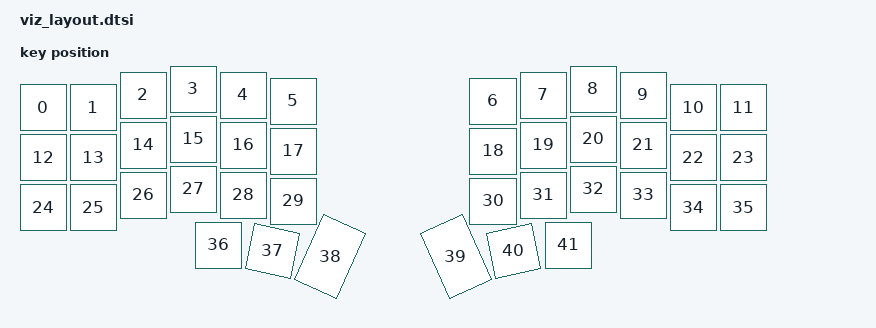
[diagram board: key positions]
/*
 * 42-key visualization layout for keymap-drawer.
 * Excludes encoder positions 6, 7, 20, 21 from the 46-key matrix
 * (those columns are where the nice_view display shield sits).
 */

#include <physical_layouts.dtsi>

/ {
    viz_layout: viz_layout {
        compatible = "zmk,physical-layout";
        display-name = "42-Key Visualization";
        keys  //                     w   h    x    y     rot    rx    ry
            /* Row 0 left: pos 0-5 */
            = <&key_physical_attrs 100 100    0   37       0     0     0>
            , <&key_physical_attrs 100 100  100   37       0     0     0>
            , <&key_physical_attrs 100 100  200   12       0     0     0>
            , <&key_physical_attrs 100 100  300    0       0     0     0>
            , <&key_physical_attrs 100 100  400   12       0     0     0>
            , <&key_physical_attrs 100 100  500   24       0     0     0>
            /* Row 0 right: pos 8-13 */
            , <&key_physical_attrs 100 100  900   24       0     0     0>
            , <&key_physical_attrs 100 100 1000   12       0     0     0>
            , <&key_physical_attrs 100 100 1100    0       0     0     0>
            , <&key_physical_attrs 100 100 1200   12       0     0     0>
            , <&key_physical_attrs 100 100 1300   37       0     0     0>
            , <&key_physical_attrs 100 100 1400   37       0     0     0>
            /* Row 1 left: pos 14-19 */
            , <&key_physical_attrs 100 100    0  137       0     0     0>
            , <&key_physical_attrs 100 100  100  137       0     0     0>
            , <&key_physical_attrs 100 100  200  112       0     0     0>
            , <&key_physical_attrs 100 100  300  100       0     0     0>
            , <&key_physical_attrs 100 100  400  112       0     0     0>
            , <&key_physical_attrs 100 100  500  124       0     0     0>
            /* Row 1 right: pos 22-27 */
            , <&key_physical_attrs 100 100  900  124       0     0     0>
            , <&key_physical_attrs 100 100 1000  112       0     0     0>
            , <&key_physical_attrs 100 100 1100  100       0     0     0>
            , <&key_physical_attrs 100 100 1200  112       0     0     0>
            , <&key_physical_attrs 100 100 1300  137       0     0     0>
            , <&key_physical_attrs 100 100 1400  137       0     0     0>
            /* Row 2: pos 28-33 (left), 34-39 (right) — unchanged */
            , <&key_physical_attrs 100 100    0  237       0     0     0>
            , <&key_physical_attrs 100 100  100  237       0     0     0>
            , <&key_physical_attrs 100 100  200  212       0     0     0>
            , <&key_physical_attrs 100 100  300  200       0     0     0>
            , <&key_physical_attrs 100 100  400  212       0     0     0>
            , <&key_physical_attrs 100 100  500  224       0     0     0>
            , <&key_physical_attrs 100 100  900  224       0     0     0>
            , <&key_physical_attrs 100 100 1000  212       0     0     0>
            , <&key_physical_attrs 100 100 1100  200       0     0     0>
            , <&key_physical_attrs 100 100 1200  212       0     0     0>
            , <&key_physical_attrs 100 100 1300  237       0     0     0>
            , <&key_physical_attrs 100 100 1400  237       0     0     0>
            /* Row 3: thumbs 40-45 — unchanged */
            , <&key_physical_attrs 100 100  350  312       0     0     0>
            , <&key_physical_attrs 100 100  450  312    1200   450   412>
            , <&key_physical_attrs 100 150  548  283    2400   548   433>
            , <&key_physical_attrs 100 150  852  283 (-2400)   952   433>
            , <&key_physical_attrs 100 100  950  312 (-1200)  1050   412>
            , <&key_physical_attrs 100 100 1050  312       0     0     0>
            ;
    };
};
